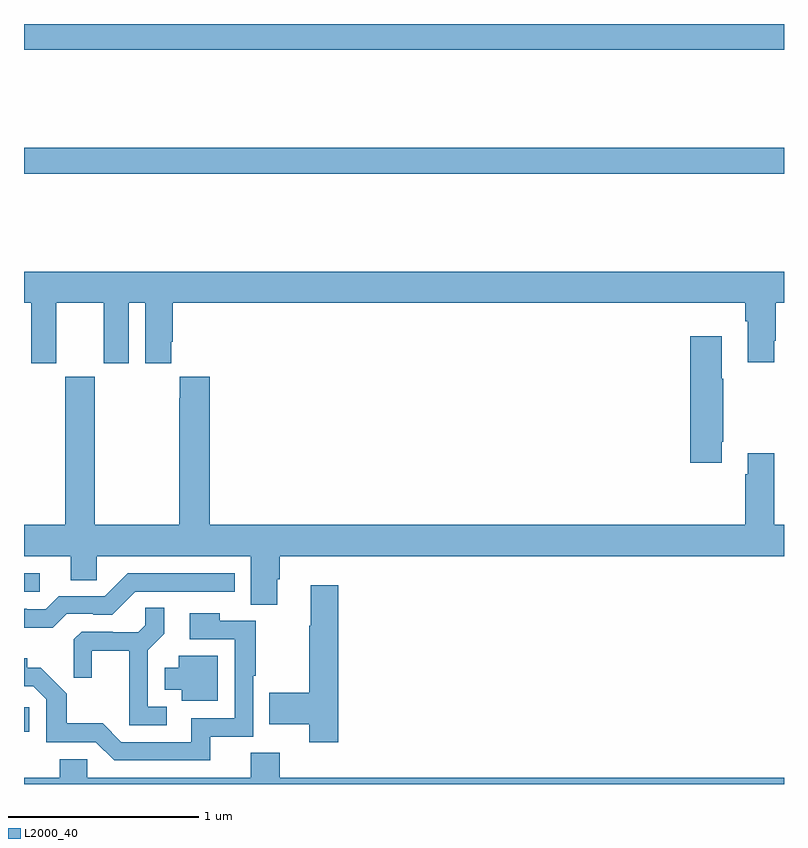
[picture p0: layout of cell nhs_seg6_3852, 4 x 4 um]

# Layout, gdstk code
import gdstk
lib = gdstk.Library(unit=1e-6, precision=1e-09)
def R(c, l, rs):  # rectangles x0, y0, x1, y1
    for r in rs: c.add(gdstk.rectangle(r[:2], r[2:], *l))
def P(c, l, *ps):  # polygons
    for p in ps: c.add(gdstk.Polygon(p, *l))
L2000_40 = (2000, 40)

nhs_seg6_3852 = lib.new_cell('nhs_seg6_3852')
R(nhs_seg6_3852, L2000_40, [(339,915.774,339.027,915.903), (339,916.512,339.082,916.608), (339,918.712,343,918.848), (339,919.364,343,919.5)])
P(nhs_seg6_3852, L2000_40, [(339.169,918.032),(339.419,918.032),(339.419,917.715),(339.55,917.715),(339.55,918.032),(339.638,918.032),(339.638,917.715),(339.775,917.715),(339.775,917.827),(339.782,917.827),(339.782,918.032),(342.797,918.032),(342.797,917.936),(342.809,917.936),(342.809,917.721),(342.949,917.721),(342.949,917.833),(342.957,917.833),(342.957,918.032),(343,918.032),(343,918.196),(339,918.196),(339,918.032),(339.038,918.032),(339.038,917.715),(339.169,917.715)],
  [(342.673,917.302),(342.681,917.302),(342.681,917.633),(342.673,917.633),(342.673,917.857),(342.506,917.857),(342.506,917.19),(342.673,917.19)],
  [(340.333,916.578),(340.346,916.578),(340.346,916.7),(343,916.7),(343,916.864),(342.949,916.864),(342.949,917.242),(342.809,917.242),(342.809,917.129),(342.797,917.129),(342.797,916.864),(339.977,916.864),(339.977,917.644),(339.821,917.644),(339.821,917.531),(339.817,917.531),(339.817,916.864),(339.372,916.864),(339.372,917.644),(339.217,917.644),(339.217,916.864),(339,916.864),(339,916.7),(339.245,916.7),(339.245,916.573),(339.384,916.573),(339.384,916.7),(340.193,916.7),(340.193,916.444),(340.333,916.444)],
  [(339.225,916.395),(339.364,916.395),(339.364,916.392),(339.465,916.392),(339.585,916.512),(340.108,916.512),(340.108,916.608),(339.546,916.608),(339.426,916.488),(339.183,916.488),(339.114,916.419),(339.014,916.419),(339.014,916.422),(339,916.422),(339,916.322),(339.152,916.322)],
  [(340.655,916.546),(340.508,916.546),(340.508,916.333),(340.501,916.333),(340.501,915.981),(340.291,915.981),(340.291,915.815),(340.501,915.815),(340.501,915.72),(340.655,915.72)],
  [(339.751,915.906),(339.651,915.906),(339.651,916.205),(339.737,916.291),(339.737,916.427),(339.639,916.427),(339.639,916.336),(339.602,916.299),(339.468,916.299),(339.468,916.302),(339.303,916.302),(339.262,916.261),(339.262,916.059),(339.356,916.059),(339.356,916.202),(339.554,916.202),(339.554,915.81),(339.751,915.81)],
  [(339.98,915.75),(340.206,915.75),(340.206,916.069),(340.219,916.069),(340.219,916.359),(340.029,916.359),(340.029,916.399),(339.873,916.399),(339.873,916.263),(340.11,916.263),(340.11,915.846),(339.881,915.846),(339.881,915.72),(339.513,915.72),(339.415,915.819),(339.226,915.819),(339.226,915.974),(339.088,916.112),(339.018,916.112),(339.018,916.162),(339,916.162),(339,916.014),(339.048,916.014),(339.117,915.945),(339.117,915.72),(339.378,915.72),(339.474,915.624),(339.98,915.624)],
  [(340.021,916.174),(339.815,916.174),(339.815,916.111),(339.74,916.111),(339.74,915.995),(339.83,915.995),(339.83,915.938),(340.021,915.938)],
  [(340.193,915.665),(340.193,915.532),(339.333,915.532),(339.333,915.63),(339.187,915.63),(339.187,915.532),(339,915.532),(339,915.5),(343,915.5),(343,915.532),(340.346,915.532),(340.346,915.665)])

lib.write_gds('nhs_seg6_3852.gds')
